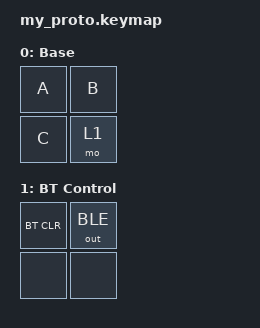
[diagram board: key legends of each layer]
#include <behaviors.dtsi>
#include <dt-bindings/zmk/keys.h>
#include <dt-bindings/zmk/bt.h>
#include <dt-bindings/zmk/outputs.h>

/ {
    keymap {
        compatible = "zmk,keymap";
        init-delay-ms = <10000>;
        default_layer {
            display-name = "Base";
            bindings = <
                &kp A &kp B
                &kp C &mo 1
            >;
        };

        bt_layer {
            display-name = "BT Control";
            bindings = <
                &bt BT_CLR &out OUT_BLE
                &none      &none
            >;
        };
    };
};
